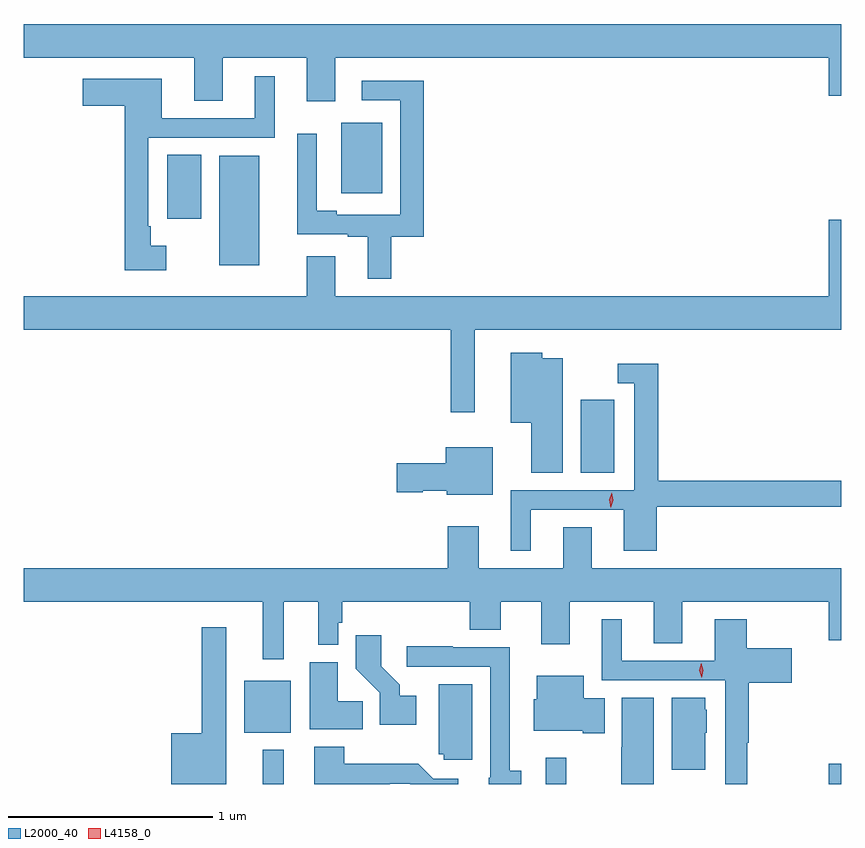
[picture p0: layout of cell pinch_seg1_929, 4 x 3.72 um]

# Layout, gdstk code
import gdstk
lib = gdstk.Library(unit=1e-6, precision=1e-09)
def R(c, l, rs):  # rectangles x0, y0, x1, y1
    for r in rs: c.add(gdstk.rectangle(r[:2], r[2:], *l))
def P(c, l, *ps):  # polygons
    for p in ps: c.add(gdstk.Polygon(p, *l))
L2000_40 = (2000, 40)
L4158_0 = (4158, 0)

pinch_seg1_929 = lib.new_cell('pinch_seg1_929')
R(pinch_seg1_929, L2000_40, [(210.191,578.813,210.295,578.98), (211.575,578.813,211.676,578.941), (212.96,578.813,213.022,578.911), (210.101,579.065,210.328,579.319), (211.748,580.336,211.912,580.693), (209.978,581.351,210.175,581.887), (209.723,581.58,209.89,581.891), (210.575,581.705,210.775,582.049)])
P(pinch_seg1_929, L2000_40, [(210.547,582.368),(212.96,582.368),(212.96,582.18),(213.022,582.18),(213.022,582.532),(209.022,582.532),(209.022,582.368),(209.855,582.368),(209.855,582.157),(209.995,582.157),(209.995,582.368),(210.407,582.368),(210.407,582.153),(210.547,582.153)],
  [(209.719,581.446),(209.644,581.446),(209.644,581.542),(209.631,581.542),(209.631,581.976),(210.25,581.976),(210.25,582.277),(210.152,582.277),(210.152,582.072),(209.698,582.072),(209.698,582.265),(209.31,582.265),(209.31,582.131),(209.515,582.131),(209.515,581.327),(209.719,581.327)],
  [(210.821,581.49),(210.98,581.49),(210.98,582.255),(210.675,582.255),(210.675,582.159),(210.864,582.159),(210.864,581.598),(210.553,581.598),(210.553,581.618),(210.456,581.618),(210.456,581.995),(210.359,581.995),(210.359,581.502),(210.608,581.502),(210.608,581.49),(210.704,581.49),(210.704,581.285),(210.821,581.285)],
  [(211.228,581.036),(213.022,581.036),(213.022,581.575),(212.96,581.575),(212.96,581.2),(210.547,581.2),(210.547,581.395),(210.407,581.395),(210.407,581.2),(209.022,581.2),(209.022,581.036),(211.111,581.036),(211.111,580.632),(211.228,580.632)],
  [(211.66,580.897),(211.56,580.897),(211.56,580.924),(211.406,580.924),(211.406,580.58),(211.505,580.58),(211.505,580.336),(211.66,580.336)],
  [(211.504,580.155),(211.958,580.155),(211.958,579.954),(212.12,579.954),(212.12,580.17),(213.022,580.17),(213.022,580.298),(212.126,580.298),(212.126,580.87),(211.929,580.87),(211.929,580.773),(212.01,580.773),(212.01,580.251),(211.406,580.251),(211.406,579.954),(211.504,579.954)],
  [(211.318,580.462),(211.088,580.462),(211.088,580.382),(210.846,580.382),(210.846,580.24),(210.975,580.24),(210.975,580.247),(211.092,580.247),(211.092,580.229),(211.318,580.229)],
  [(210.295,579.704),(210.464,579.704),(210.464,579.494),(210.561,579.494),(210.561,579.603),(210.581,579.603),(210.581,579.704),(211.205,579.704),(211.205,579.568),(211.357,579.568),(211.357,579.704),(211.553,579.704),(211.553,579.498),(211.693,579.498),(211.693,579.704),(212.105,579.704),(212.105,579.502),(212.245,579.502),(212.245,579.704),(212.96,579.704),(212.96,579.516),(213.022,579.516),(213.022,579.868),(211.801,579.868),(211.801,580.07),(211.661,580.07),(211.661,579.868),(211.249,579.868),(211.249,580.075),(211.097,580.075),(211.097,579.868),(209.022,579.868),(209.022,579.704),(210.191,579.704),(210.191,579.423),(210.295,579.423)],
  [(212.563,579.015),(212.57,579.015),(212.57,579.308),(212.779,579.308),(212.779,579.478),(212.559,579.478),(212.559,579.619),(212.402,579.619),(212.402,579.417),(211.948,579.417),(211.948,579.619),(211.85,579.619),(211.85,579.321),(212.454,579.321),(212.454,578.813),(212.563,578.813)],
  [(210.013,579.58),(209.892,579.58),(209.892,579.061),(209.744,579.061),(209.744,578.813),(210.013,578.813)],
  [(210.943,579.244),(210.862,579.244),(210.862,579.299),(210.772,579.389),(210.772,579.541),(210.646,579.541),(210.646,579.378),(210.765,579.259),(210.765,579.104),(210.943,579.104)],
  [(211.456,578.879),(211.401,578.879),(211.401,579.483),(211.121,579.483),(211.121,579.486),(210.897,579.486),(210.897,579.387),(211.305,579.387),(211.305,578.844),(211.298,578.844),(211.298,578.813),(211.456,578.813)],
  [(210.68,579.218),(210.559,579.218),(210.559,579.409),(210.422,579.409),(210.422,579.08),(210.68,579.08)],
  [(211.864,579.232),(211.762,579.232),(211.762,579.343),(211.532,579.343),(211.532,579.228),(211.517,579.228),(211.517,579.074),(211.757,579.074),(211.757,579.062),(211.864,579.062)],
  [(211.216,579.302),(211.052,579.302),(211.052,578.958),(211.077,578.958),(211.077,578.931),(211.216,578.931)],
  [(212.356,579.063),(212.365,579.063),(212.365,579.177),(212.356,579.177),(212.356,579.236),(212.192,579.236),(212.192,578.883),(212.356,578.883)],
  [(212.104,579.236),(211.949,579.236),(211.949,578.994),(211.946,578.994),(211.946,578.813),(212.104,578.813)],
  [(210.812,578.814),(210.912,578.814),(210.913,578.813),(211.147,578.813),(211.147,578.838),(211.026,578.838),(210.953,578.911),(210.591,578.911),(210.591,578.995),(210.443,578.995),(210.443,578.813),(210.812,578.813)])
P(pinch_seg1_929, L4158_0, [(212.34,579.333),(212.339,579.334),(212.328,579.369),(212.336,579.405),(212.336,579.405),(212.337,579.405),(212.348,579.37),(212.34,579.334)],
  [(211.895,580.166),(211.895,580.166),(211.887,580.203),(211.898,580.239),(211.898,580.239),(211.899,580.239),(211.907,580.202),(211.895,580.166)])

lib.write_gds('pinch_seg1_929.gds')
